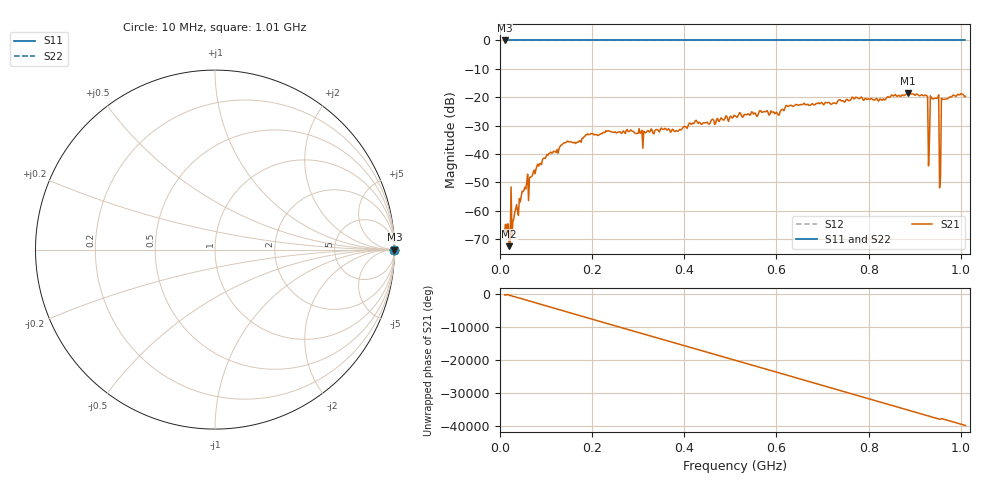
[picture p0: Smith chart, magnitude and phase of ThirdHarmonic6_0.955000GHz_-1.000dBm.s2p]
! 8/16/2025 6:59:18 AM
! C:\ANRITSUVNA\TEMP\TEMP.S2P
! CHANNEL.1
! TR.MEASUREMENT
! RAW.DATA
! RF.CORRECTION.OFF
! AVERAGING.OFF
! IF.BANDWIDTH: 5KHZ
! SWEEPTYPE:  FREQ.SWEEP(Linear)
! Reference Plane Port Info
! PORT:  PORT1  PORT2
! DISTANCE:  0  m  0  m
! TIME:  0  s  0  s
! PHASE.OFFSET:  0  deg.  0  deg.
! LOSS:  0  dB  0  dB
! REF.LOSS:  0  dB  0  dB
! REF.FREQ:  0  Hz  0  Hz
! Power Info
! POWER:  -20  dBm  -20  dBm
! EFF.POWER:  -20  dBm  -20  dBm
! SOURCE.ATTEN:  0  dB  0  dB
! TEST.ATTEN:  0  dB  0  dB
# GHZ S RI R 50.0
! FREQ.GHZ  S11RE  S11IM  S21RE  S21IM  S12RE  S12IM  S22RE  S22IM
!; PortSelection: Port_12
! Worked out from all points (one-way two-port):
!   501 points, 10 MHz to 1.01 GHz, reference 50 ohm
!   highest |S21| = -18.58 dB at 886 MHz (marker M1); lowest = -72.4 dB at 20 MHz (marker M2)
!   lowest |S11| = 0.0 dB at 10 MHz (marker M3)
!   |S11| at or under -10 dB: nowhere
!   |S22| runs from 0.0 to 0.0 dB; largest |S21 - S12| = 1.1
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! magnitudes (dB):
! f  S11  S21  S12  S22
! 10 MHz  0.0  -67.1  0.0  0.0
! 18 MHz  0.0  -64.7  0.0  0.0
! 20 MHz  0.0  -72.4  0.0  0.0
! 24 MHz  0.0  -51.6  0.0  0.0
! 56 MHz  0.0  -52.3  0.0  0.0
! 84 MHz  0.0  -44.3  0.0  0.0
! 142 MHz  0.0  -36.0  0.0  0.0
! 178 MHz  0.0  -34.4  0.0  0.0
! 344 MHz  0.0  -31.8  0.0  0.0
! 510 MHz  0.0  -26.5  0.0  0.0
! 678 MHz  0.0  -22.2  0.0  0.0
! 844 MHz  0.0  -20.0  0.0  0.0
! 886 MHz  0.0  -18.6  0.0  0.0
! 924 MHz  0.0  -19.3  0.0  0.0
! 928 MHz  0.0  -20.0  0.0  0.0
! 934 MHz  0.0  -19.5  0.0  0.0
! 938 MHz  0.0  -20.5  0.0  0.0
! 948 MHz  0.0  -20.4  0.0  0.0
! 952 MHz  0.0  -19.2  0.0  0.0
! 958 MHz  0.0  -20.4  0.0  0.0
! 962 MHz  0.0  -20.7  0.0  0.0
! 1.01 GHz  0.0  -19.7  0.0  0.0
